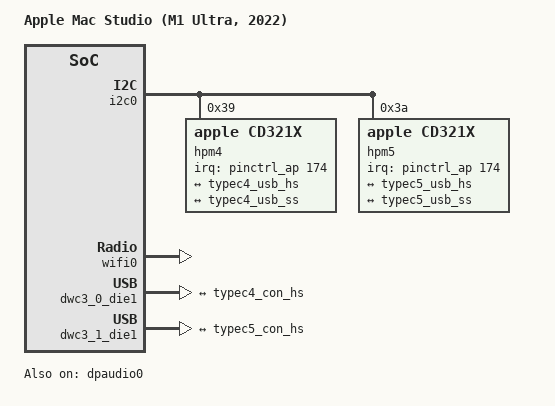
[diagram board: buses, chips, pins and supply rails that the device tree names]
// SPDX-License-Identifier: GPL-2.0+ OR MIT
/*
 * Mac Studio (M1 Ultra, 2022)
 *
 * target-type: J375d
 *
 * Copyright The Asahi Linux Contributors
 */

/dts-v1/;

#include "t6002.dtsi"
#include "t600x-j375.dtsi"

/ {
	compatible = "apple,j375d", "apple,t6002", "apple,arm-platform";
	model = "Apple Mac Studio (M1 Ultra, 2022)";
	aliases {
		atcphy4 = &atcphy0_die1;
		atcphy5 = &atcphy1_die1;
	};
};

&dpaudio0 {
	status = "okay";
};

&sound {
	compatible = "apple,j375-macaudio", "apple,macaudio";
	model = "Mac Studio J375";
};

/* USB Type C */
&i2c0 {
	/* front-right */
	hpm4: usb-pd@39 {
		compatible = "apple,cd321x";
		reg = <0x39>;
		interrupt-parent = <&pinctrl_ap>;
		interrupts = <174 IRQ_TYPE_LEVEL_LOW>;
		interrupt-names = "irq";

		typec4: connector {
			compatible = "usb-c-connector";
			label = "USB-C Front Right";
			power-role = "dual";
			data-role = "dual";

			ports {
				#address-cells = <1>;
				#size-cells = <0>;
				port@0 {
					reg = <0>;
					typec4_con_hs: endpoint {
						remote-endpoint = <&typec4_usb_hs>;
					};
				};
				port@1 {
					reg = <1>;
					typec4_con_ss: endpoint {
						remote-endpoint = <&typec4_usb_ss>;
					};
				};
			};
		};
	};

	/* front-left */
	hpm5: usb-pd@3a {
		compatible = "apple,cd321x";
		reg = <0x3a>;
		interrupt-parent = <&pinctrl_ap>;
		interrupts = <174 IRQ_TYPE_LEVEL_LOW>;
		interrupt-names = "irq";

		typec5: connector {
			compatible = "usb-c-connector";
			label = "USB-C Front Left";
			power-role = "dual";
			data-role = "dual";

			ports {
				#address-cells = <1>;
				#size-cells = <0>;
				port@0 {
					reg = <0>;
					typec5_con_hs: endpoint {
						remote-endpoint = <&typec5_usb_hs>;
					};
				};
				port@1 {
					reg = <1>;
					typec5_con_ss: endpoint {
						remote-endpoint = <&typec5_usb_ss>;
					};
				};
			};
		};
	};
};

&wifi0 {
	brcm,board-type = "apple,okinawa";
};

&bluetooth0 {
	brcm,board-type = "apple,okinawa";
};

/* USB controllers on die 1 */
&dwc3_0_die1 {
	port {
		typec4_usb_hs: endpoint {
			remote-endpoint = <&typec4_con_hs>;
		};
	};
};

&dwc3_1_die1 {
	port {
		typec5_usb_hs: endpoint {
			remote-endpoint = <&typec5_con_hs>;
		};
	};
};

/* Type-C PHYs */
&atcphy0_die1 {
	port {
		typec4_usb_ss: endpoint {
			remote-endpoint = <&typec4_con_ss>;
		};
	};
};

&atcphy1_die1 {
	port {
		typec5_usb_ss: endpoint {
			remote-endpoint = <&typec5_con_ss>;
		};
	};
};

/* delete unused USB nodes on die 1 */

/delete-node/ &dwc3_2_dart_0_die1;
/delete-node/ &dwc3_2_dart_1_die1;
/delete-node/ &dwc3_2_die1;
/delete-node/ &atcphy2_die1;
/delete-node/ &atcphy2_xbar_die1;

/delete-node/ &dwc3_3_dart_0_die1;
/delete-node/ &dwc3_3_dart_1_die1;
/delete-node/ &dwc3_3_die1;
/delete-node/ &atcphy3_die1;
/delete-node/ &atcphy3_xbar_die1;

/* delete unused always-on power-domains on die 1 */

/delete-node/ &ps_atc2_usb_aon_die1;
/delete-node/ &ps_atc2_usb_die1;

/delete-node/ &ps_atc3_usb_aon_die1;
/delete-node/ &ps_atc3_usb_die1;

/delete-node/ &ps_disp0_cpu0_die1;
/delete-node/ &ps_disp0_fe_die1;

&gpu {
	apple,avg-power-ki-only = <0.6375>;
	apple,avg-power-kp = <0.58>;
	apple,avg-power-target-filter-tc = <1>;
	apple,perf-base-pstate = <3>;
	apple,ppm-ki = <5.8>;
	apple,ppm-kp = <0.355>;
};

#include "hwmon-fan-dual.dtsi"
